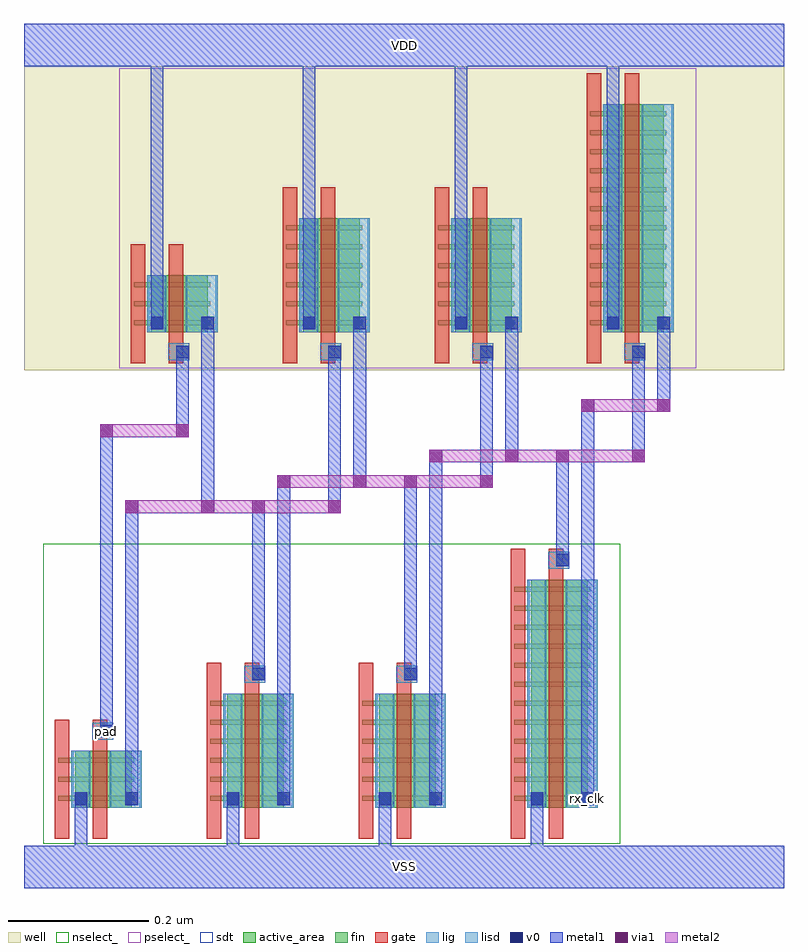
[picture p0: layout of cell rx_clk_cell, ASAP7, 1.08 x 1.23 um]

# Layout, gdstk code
import gdstk
lib = gdstk.Library(unit=1e-6, precision=2.5e-10)
def R(c, l, rs):  # rectangles x0, y0, x1, y1
    for r in rs: c.add(gdstk.rectangle(r[:2], r[2:], *l))
def A(c, l, x, y, w, h, nx, ny, dx, dy):  # array of equal rectangles
    R(c, l, [(x+i*dx, y+j*dy, x+i*dx+w, y+j*dy+h) for i in range(nx) for j in range(ny)])
well = (1, 0)
fin = (2, 0)
gate = (7, 0)
active_area = (11, 0)
nselect_ = (12, 0)
pselect_ = (13, 0)
lig = (16, 0)
lisd = (17, 0)
v0 = (18, 0)
metal1 = (19, 0)
metal2 = (20, 0)
via1 = (21, 0)
sdt = (88, 0)

rx_clk_cell = lib.new_cell('rx_clk_cell')
R(rx_clk_cell, well, [(0,0.736,1.08,1.168)])
A(rx_clk_cell, fin, 0.049, 0.124, 0.108, 0.007, 4, 3, 0.216, 0.027)
A(rx_clk_cell, fin, 0.265, 0.205, 0.108, 0.007, 3, 3, 0.216, 0.027)
A(rx_clk_cell, fin, 0.697, 0.286, 0.108, 0.007, 1, 6, 0, 0.027)
A(rx_clk_cell, fin, 0.157, 0.8, 0.108, 0.007, 4, 3, 0.216, 0.027)
A(rx_clk_cell, fin, 0.373, 0.881, 0.108, 0.007, 3, 3, 0.216, 0.027)
A(rx_clk_cell, fin, 0.805, 0.962, 0.108, 0.007, 1, 6, 0, 0.027)
R(rx_clk_cell, gate, [(0.044,0.07,0.064,0.239), (0.098,0.07,0.118,0.239), (0.26,0.07,0.28,0.32), (0.314,0.07,0.334,0.32), (0.476,0.07,0.496,0.32), (0.53,0.07,0.55,0.32), (0.692,0.07,0.712,0.482), (0.746,0.07,0.766,0.482), (0.152,0.746,0.172,0.915), (0.206,0.746,0.226,0.915), (0.368,0.746,0.388,0.996), (0.422,0.746,0.442,0.996), (0.584,0.746,0.604,0.996), (0.638,0.746,0.658,0.996), (0.8,0.746,0.82,1.158), (0.854,0.746,0.874,1.158)])
R(rx_clk_cell, active_area, [(0.073,0.114,0.153,0.195), (0.289,0.114,0.369,0.276), (0.505,0.114,0.585,0.276), (0.721,0.114,0.801,0.438), (0.181,0.79,0.261,0.871), (0.397,0.79,0.477,0.952), (0.613,0.79,0.693,0.952), (0.829,0.79,0.909,1.114)])
R(rx_clk_cell, nselect_, [(0.027,0.063,0.847,0.489)])
R(rx_clk_cell, pselect_, [(0.135,0.739,0.955,1.165)])
A(rx_clk_cell, lig, 0.205, 0.75, 0.03, 0.024, 4, 1, 0.216, 0)
R(rx_clk_cell, lig, [(0.097,0.211,0.127,0.235), (0.313,0.292,0.343,0.316), (0.529,0.292,0.559,0.316), (0.745,0.454,0.775,0.478)])
R(rx_clk_cell, lisd, [(0.067,0.114,0.094,0.195), (0.122,0.114,0.167,0.195), (0.283,0.114,0.31,0.276), (0.338,0.114,0.383,0.276), (0.499,0.114,0.526,0.276), (0.554,0.114,0.599,0.276), (0.715,0.114,0.742,0.438), (0.77,0.114,0.815,0.438), (0.175,0.79,0.202,0.871), (0.23,0.79,0.275,0.871), (0.391,0.79,0.418,0.952), (0.446,0.79,0.491,0.952), (0.607,0.79,0.634,0.952), (0.662,0.79,0.707,0.952), (0.823,0.79,0.85,1.114), (0.878,0.79,0.923,1.114)])
A(rx_clk_cell, v0, 0.216, 0.753, 0.018, 0.018, 4, 1, 0.216, 0)
R(rx_clk_cell, v0, [(0.072,0.118,0.09,0.136), (0.144,0.118,0.162,0.136), (0.288,0.118,0.306,0.136), (0.36,0.118,0.378,0.136), (0.504,0.118,0.522,0.136), (0.576,0.118,0.594,0.136), (0.72,0.118,0.738,0.136), (0.792,0.118,0.81,0.136), (0.108,0.214,0.126,0.232), (0.324,0.295,0.342,0.313), (0.54,0.295,0.558,0.313), (0.756,0.457,0.774,0.475), (0.18,0.794,0.198,0.812), (0.252,0.794,0.27,0.812), (0.396,0.794,0.414,0.812), (0.468,0.794,0.486,0.812), (0.612,0.794,0.63,0.812), (0.684,0.794,0.702,0.812), (0.828,0.794,0.846,0.812), (0.9,0.794,0.918,0.812)])
A(rx_clk_cell, metal1, 0.072, 0.021, 0.018, 0.115, 4, 1, 0.216, 0)
A(rx_clk_cell, metal1, 0.18, 0.794, 0.018, 0.413, 4, 1, 0.216, 0)
R(rx_clk_cell, metal1, [(0,0,1.08,0.06), (0.144,0.118,0.162,0.551), (0.36,0.118,0.378,0.587), (0.576,0.118,0.594,0.623), (0.792,0.118,0.81,0.695), (0.108,0.214,0.126,0.659), (0.324,0.295,0.342,0.551), (0.54,0.295,0.558,0.587), (0.756,0.457,0.774,0.623), (0.252,0.533,0.27,0.812), (0.432,0.533,0.45,0.771), (0.468,0.569,0.486,0.812), (0.648,0.569,0.666,0.771), (0.684,0.605,0.702,0.812), (0.864,0.605,0.882,0.771), (0.216,0.641,0.234,0.771), (0.9,0.677,0.918,0.812), (0,1.168,1.08,1.228)])
R(rx_clk_cell, metal2, [(0.144,0.533,0.45,0.551), (0.36,0.569,0.666,0.587), (0.576,0.605,0.882,0.623), (0.108,0.641,0.234,0.659), (0.792,0.677,0.918,0.695)])
R(rx_clk_cell, via1, [(0.144,0.533,0.162,0.551), (0.252,0.533,0.27,0.551), (0.324,0.533,0.342,0.551), (0.432,0.533,0.45,0.551), (0.36,0.569,0.378,0.587), (0.468,0.569,0.486,0.587), (0.54,0.569,0.558,0.587), (0.648,0.569,0.666,0.587), (0.576,0.605,0.594,0.623), (0.684,0.605,0.702,0.623), (0.756,0.605,0.774,0.623), (0.864,0.605,0.882,0.623), (0.108,0.641,0.126,0.659), (0.216,0.641,0.234,0.659), (0.792,0.677,0.81,0.695), (0.9,0.677,0.918,0.695)])
R(rx_clk_cell, sdt, [(0.069,0.114,0.093,0.195), (0.123,0.114,0.165,0.195), (0.285,0.114,0.309,0.276), (0.339,0.114,0.381,0.276), (0.501,0.114,0.525,0.276), (0.555,0.114,0.597,0.276), (0.717,0.114,0.741,0.438), (0.771,0.114,0.813,0.438), (0.177,0.79,0.201,0.871), (0.231,0.79,0.273,0.871), (0.393,0.79,0.417,0.952), (0.447,0.79,0.489,0.952), (0.609,0.79,0.633,0.952), (0.663,0.79,0.705,0.952), (0.825,0.79,0.849,1.114), (0.879,0.79,0.921,1.114)])
rx_clk_cell.add(gdstk.Label('VSS', (0.54,0.03), layer=19, texttype=251))
rx_clk_cell.add(gdstk.Label('VDD', (0.54,1.198), layer=19, texttype=251))
rx_clk_cell.add(gdstk.Label('pad', (0.117,0.223), layer=19, texttype=251))
rx_clk_cell.add(gdstk.Label('rx_clk', (0.801,0.127), layer=19, texttype=251))

lib.write_gds('rx_clk_cell.gds')
